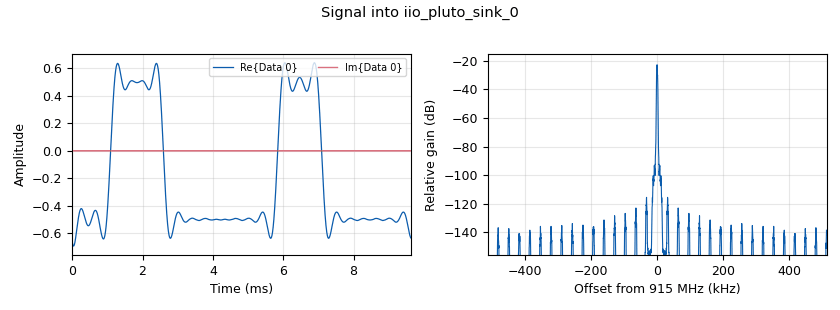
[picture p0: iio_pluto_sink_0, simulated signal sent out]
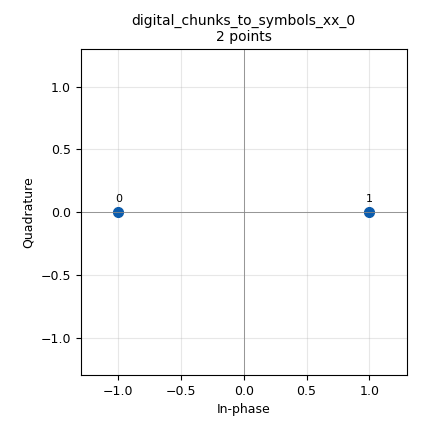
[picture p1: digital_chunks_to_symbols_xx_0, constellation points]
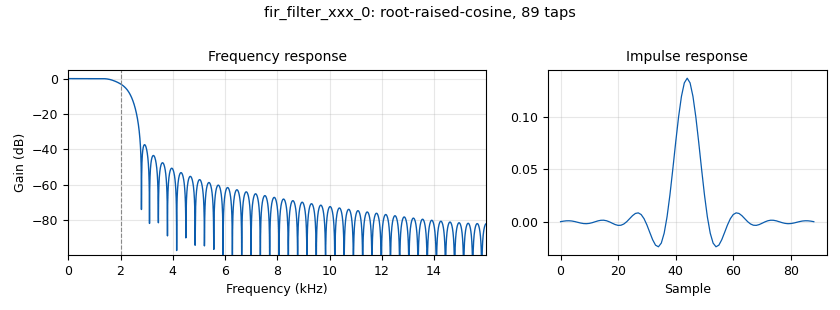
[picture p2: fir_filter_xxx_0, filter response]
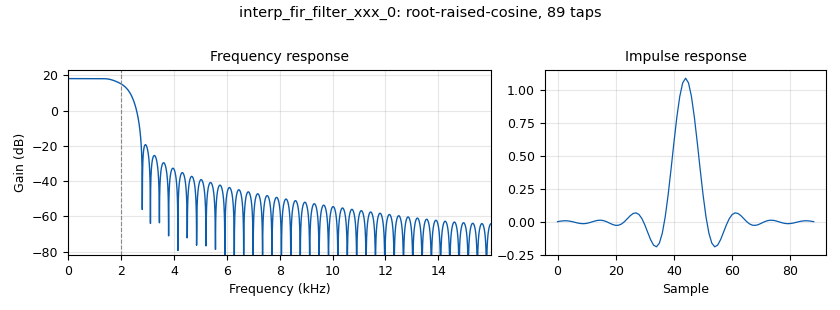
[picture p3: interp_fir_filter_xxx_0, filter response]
options:
  parameters:
    author: ECE 448
    description: 'L10 Lab: the PAM text link through one PlutoSDR, transmitting at 915 MHz into a cable from TX to RX. Transmit only into the cable.'
    generate_options: qt_gui
    id: L10_pam_pluto
    output_language: python
    title: L10 - PAM Text Link on a PlutoSDR
  states: {}

blocks:
- name: alpha
  id: variable
  parameters:
    value: '0.35'
  states: {}
- name: fc
  id: variable
  parameters:
    value: 915e6
  states: {}
- name: hdr
  id: variable
  parameters:
    value: digital.header_format_default(digital.packet_utils.default_access_code, 0)
  states: {}
- name: msg
  id: variable
  parameters:
    value: '''USAFA ECE 448: ASCII over PAM.'''
  states: {}
- name: polarity
  id: variable_qtgui_chooser
  parameters:
    gui_hint: 1,0,1,2
    label: Polarity
    label0: normal
    label1: inverted
    labels: '["normal", "inverted"]'
    num_opts: '2'
    option0: '1'
    option1: '-1'
    options: '[1, -1]'
    orient: Qt.QHBoxLayout
    type: real
    value: '1'
    widget: radio_buttons
  states: {}
- name: radio_rate
  id: variable
  parameters:
    value: samp_rate*32
  states: {}
- name: rx_gain
  id: variable_qtgui_range
  parameters:
    gui_hint: 0,1,1,1
    label: Pluto RX gain (dB)
    start: '0'
    step: '1'
    stop: '60'
    value: '20'
  states: {}
- name: rx_label
  id: variable_qtgui_label
  parameters:
    formatter: 'lambda x: '':  '' + x'
    gui_hint: 3,0,1,2
    label: Received
    type: string
    value: rx_text
  states: {}
- name: rx_stats
  id: variable_function_probe
  parameters:
    block_id: epy_block_0
    function_name: stats
    poll_rate: '4'
    value: ''''''
  states: {}
- name: rx_taps
  id: variable
  parameters:
    value: firdes.root_raised_cosine(1.0, samp_rate, samp_rate/sps, alpha, 11*sps)
  states: {}
- name: rx_text
  id: variable_function_probe
  parameters:
    block_id: epy_block_0
    function_name: last_line
    poll_rate: '4'
    value: '''(waiting for a packet)'''
  states: {}
- name: samp_rate
  id: variable
  parameters:
    value: '32000'
  states: {}
- name: sps
  id: variable
  parameters:
    value: '8'
  states: {}
- name: stats_label
  id: variable_qtgui_label
  parameters:
    formatter: 'lambda x: '':  '' + x'
    gui_hint: 4,0,1,2
    label: Lines
    type: string
    value: rx_stats
  states: {}
- name: tx_atten
  id: variable_qtgui_range
  parameters:
    gui_hint: 0,0,1,1
    label: Pluto TX attenuation (dB)
    start: '30'
    step: '1'
    stop: '89'
    value: '60'
  states: {}
- name: tx_taps
  id: variable
  parameters:
    value: firdes.root_raised_cosine(sps, samp_rate, samp_rate/sps, alpha, 11*sps)
  states: {}
- name: analog_agc3_xx_0
  id: analog_agc3_xx
  parameters:
    attack_rate: '1e-3'
    comment: 'Reference 0.5: at high SNR AGC3 overshoots'
    decay_rate: '1e-4'
    gain: '1.0'
    iir_update_decim: '1'
    max_gain: '65536'
    reference: '0.5'
    type: complex
  states: {}
- name: blocks_complex_to_real_0
  id: blocks_complex_to_real
  parameters: {}
  states: {}
- name: blocks_float_to_complex_0
  id: blocks_float_to_complex
  parameters: {}
  states: {}
- name: blocks_multiply_const_vxx_0
  id: blocks_multiply_const_vxx
  parameters:
    comment: Keeps the peaks below full scale
    const: '0.5'
    type: complex
  states: {}
- name: blocks_multiply_const_vxx_1
  id: blocks_multiply_const_vxx
  parameters:
    const: polarity
    type: float
  states: {}
- name: blocks_repack_bits_bb_0
  id: blocks_repack_bits_bb
  parameters:
    endianness: gr.GR_MSB_FIRST
    k: '1'
    l: '8'
    len_tag_key: '"packet_len"'
  states: {}
- name: blocks_stream_to_tagged_stream_0
  id: blocks_stream_to_tagged_stream
  parameters:
    len_tag_key: '"packet_len"'
    packet_len: len(msg) + 1
    type: byte
  states: {}
- name: blocks_tagged_stream_mux_0
  id: blocks_tagged_stream_mux
  parameters:
    lengthtagname: '"packet_len"'
    ninputs: '2'
    type: byte
  states: {}
- name: blocks_unpack_k_bits_bb_0
  id: blocks_unpack_k_bits_bb
  parameters:
    k: '8'
  states: {}
- name: blocks_vector_source_x_0
  id: blocks_vector_source_x
  parameters:
    repeat: 'True'
    type: byte
    vector: list(msg.encode()) + [10]
  states: {}
- name: digital_binary_slicer_fb_0
  id: digital_binary_slicer_fb
  parameters: {}
  states: {}
- name: digital_chunks_to_symbols_xx_0
  id: digital_chunks_to_symbols_xx
  parameters:
    dimension: '1'
    in_type: byte
    out_type: float
    symbol_table: '[-1, 1]'
  states: {}
- name: digital_correlate_access_code_xx_ts_0
  id: digital_correlate_access_code_xx_ts
  parameters:
    access_code: digital.packet_utils.default_access_code
    tagname: '"packet_len"'
    threshold: '2'
    type: byte
  states: {}
- name: digital_costas_loop_cc_0
  id: digital_costas_loop_cc
  parameters:
    comment: Carrier recovery (Lesson 15)
    order: '2'
    w: 2*math.pi/100
  states: {}
- name: digital_protocol_formatter_bb_0
  id: digital_protocol_formatter_bb
  parameters:
    format: hdr
    len_tag_key: '"packet_len"'
  states: {}
- name: digital_symbol_sync_xx_0
  id: digital_symbol_sync_xx
  parameters:
    damping: '1.0'
    loop_bw: '0.045'
    max_dev: '1.5'
    osps: '1'
    resamp_type: digital.IR_MMSE_8TAP
    sps: sps
    ted_gain: '1.0'
    ted_type: digital.TED_GARDNER
    type: cc
  states: {}
- name: epy_block_0
  id: epy_block
  parameters:
    _source_code: |
      """Text Sink: shows each received packet as a line of text and counts the
      lines that match the transmitted message. The counts restart whenever a
      slider moves, because GRC sets `settings` each time one of
      the settings it names changes.
      Function Probes read last_line() and stats() for the QT GUI Labels."""

      import time

      import numpy as np
      import pmt
      from gnuradio import gr


      class blk(gr.sync_block):
          def __init__(self, expected='', settings=None):
              gr.sync_block.__init__(self, name='Text Sink', in_sig=[np.uint8], out_sig=None)
              self.expected = expected
              self.key = pmt.intern('packet_len')
              self.buf = ''
              self.line = '(waiting for a packet)'
              self.settings = settings

          @property
          def settings(self):
              return self._settings

          @settings.setter
          def settings(self, value):
              self._settings = value
              self.good = 0
              self.total = 0
              self.t0 = time.monotonic()

          def work(self, input_items, output_items):
              data = input_items[0]
              start = self.nitems_read(0)
              # Each packet starts with a packet_len tag, so a corrupted newline
              # cannot run two packets together.
              marks = {t.offset - start for t in self.get_tags_in_window(0, 0, len(data), self.key)}
              for i, b in enumerate(data):
                  if i in marks and self.buf:
                      self.finish()
                  self.buf += chr(b) if 32 <= b < 127 or b == 10 else '?'
              return len(data)

          def finish(self):
              self.line = self.buf[:-1] if self.buf.endswith('\n') else self.buf
              self.total += 1
              self.good += self.buf == self.expected + '\n'
              self.buf = ''

          def last_line(self):
              return self.line

          def stats(self):
              return f'{self.good} correct of {self.total} received in {time.monotonic() - self.t0:.0f} s'
    expected: msg
    settings: (tx_atten, rx_gain, polarity)
  states: {}
- name: fir_filter_xxx_0
  id: fir_filter_xxx
  parameters:
    comment: Matched filter
    decim: '1'
    taps: rx_taps
    type: ccf
  states: {}
- name: iio_pluto_sink_0
  id: iio_pluto_sink
  parameters:
    attenuation1: tx_atten
    bandwidth: '200000'
    buffer_size: '32768'
    cyclic: 'False'
    filter: '""'
    filter_source: '''Auto'''
    frequency: int(fc)
    len_tag_key: '""'
    samplerate: int(radio_rate)
    type: fc32
    uri: '"ip:192.168.2.1"'
  states: {}
- name: iio_pluto_source_0
  id: iio_pluto_source
  parameters:
    bandwidth: '200000'
    bbdc: 'True'
    buffer_size: '32768'
    filter: '""'
    filter_source: '''Auto'''
    frequency: int(fc)
    gain1: '''manual'''
    len_tag_key: '""'
    manual_gain1: rx_gain
    quadrature: 'True'
    rfdc: 'True'
    samplerate: int(radio_rate)
    type: fc32
    uri: '"ip:192.168.2.1"'
  states: {}
- name: import_0
  id: import
  parameters:
    imports: import math
  states: {}
- name: interp_fir_filter_xxx_0
  id: interp_fir_filter_xxx
  parameters:
    comment: Transmitter
    interp: sps
    taps: tx_taps
    type: fff
  states: {}
- name: qtgui_const_sink_x_0
  id: qtgui_const_sink_x
  parameters:
    grid: 'True'
    gui_hint: 2,1,1,1
    legend: 'False'
    name: '"After carrier recovery"'
    size: '512'
    type: complex
    update_time: '0.1'
  states: {}
- name: qtgui_freq_sink_x_0
  id: qtgui_freq_sink_x
  parameters:
    average: '0.1'
    bw: samp_rate
    fc: '0'
    fftsize: '1024'
    grid: 'True'
    gui_hint: 2,0,1,1
    legend: 'False'
    name: '"Received spectrum"'
    type: complex
    update_time: '0.1'
    ymax: '0'
    ymin: '-100'
  states: {}
- name: rational_resampler_xxx_0
  id: rational_resampler_xxx
  parameters:
    decim: '1'
    interp: '32'
    type: ccc
  states: {}
- name: rational_resampler_xxx_1
  id: rational_resampler_xxx
  parameters:
    decim: '32'
    interp: '1'
    type: ccc
  states: {}

connections:
- [analog_agc3_xx_0, '0', fir_filter_xxx_0, '0']
- [blocks_complex_to_real_0, '0', blocks_multiply_const_vxx_1, '0']
- [blocks_float_to_complex_0, '0', blocks_multiply_const_vxx_0, '0']
- [blocks_multiply_const_vxx_0, '0', rational_resampler_xxx_0, '0']
- [blocks_multiply_const_vxx_1, '0', digital_binary_slicer_fb_0, '0']
- [blocks_repack_bits_bb_0, '0', epy_block_0, '0']
- [blocks_stream_to_tagged_stream_0, '0', blocks_tagged_stream_mux_0, '1']
- [blocks_stream_to_tagged_stream_0, '0', digital_protocol_formatter_bb_0, '0']
- [blocks_tagged_stream_mux_0, '0', blocks_unpack_k_bits_bb_0, '0']
- [blocks_unpack_k_bits_bb_0, '0', digital_chunks_to_symbols_xx_0, '0']
- [blocks_vector_source_x_0, '0', blocks_stream_to_tagged_stream_0, '0']
- [digital_binary_slicer_fb_0, '0', digital_correlate_access_code_xx_ts_0, '0']
- [digital_chunks_to_symbols_xx_0, '0', interp_fir_filter_xxx_0, '0']
- [digital_correlate_access_code_xx_ts_0, '0', blocks_repack_bits_bb_0, '0']
- [digital_costas_loop_cc_0, '0', blocks_complex_to_real_0, '0']
- [digital_costas_loop_cc_0, '0', qtgui_const_sink_x_0, '0']
- [digital_protocol_formatter_bb_0, '0', blocks_tagged_stream_mux_0, '0']
- [digital_symbol_sync_xx_0, '0', digital_costas_loop_cc_0, '0']
- [fir_filter_xxx_0, '0', digital_symbol_sync_xx_0, '0']
- [iio_pluto_source_0, '0', rational_resampler_xxx_1, '0']
- [interp_fir_filter_xxx_0, '0', blocks_float_to_complex_0, '0']
- [rational_resampler_xxx_0, '0', iio_pluto_sink_0, '0']
- [rational_resampler_xxx_1, '0', analog_agc3_xx_0, '0']
- [rational_resampler_xxx_1, '0', qtgui_freq_sink_x_0, '0']

metadata:
  file_format: 1
  grc_version: 3.10.9.2
